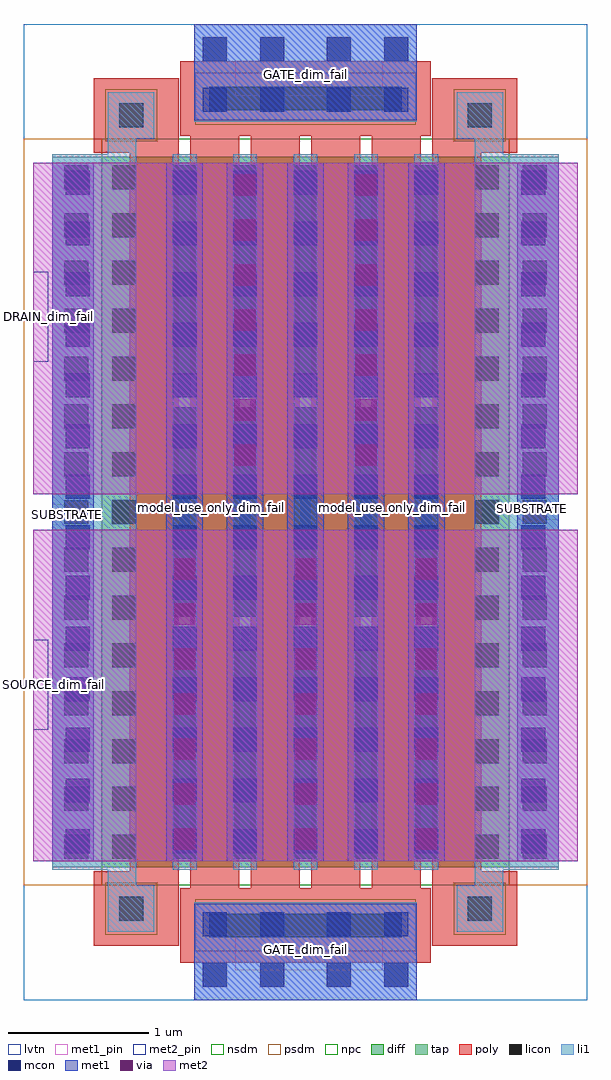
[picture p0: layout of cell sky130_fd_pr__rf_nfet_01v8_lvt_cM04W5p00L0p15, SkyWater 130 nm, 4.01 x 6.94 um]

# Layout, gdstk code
import gdstk
lib = gdstk.Library(unit=1e-6, precision=1e-09)
def R(c, l, rs):  # rectangles x0, y0, x1, y1
    for r in rs: c.add(gdstk.rectangle(r[:2], r[2:], *l))
def A(c, l, x, y, w, h, nx, ny, dx, dy):  # array of equal rectangles
    R(c, l, [(x+i*dx, y+j*dy, x+i*dx+w, y+j*dy+h) for i in range(nx) for j in range(ny)])
def P(c, l, *ps):  # polygons
    for p in ps: c.add(gdstk.Polygon(p, *l))
diff = (65, 20)
tap = (65, 44)
poly = (66, 20)
licon = (66, 44)
li1 = (67, 20)
mcon = (67, 44)
met1_pin = (68, 16)
met1 = (68, 20)
via = (68, 44)
met2_pin = (69, 16)
met2 = (69, 20)
nsdm = (93, 44)
psdm = (94, 20)
npc = (95, 20)
lvtn = (125, 44)

sky130_fd_pr__rf_nfet_01 = lib.new_cell('sky130_fd_pr__rf_nfet_01v8_lvt_cM04W5p00L0p15')
R(sky130_fd_pr__rf_nfet_01, diff, [(0.555,0.945,3.455,5.995)])
R(sky130_fd_pr__rf_nfet_01, tap, [(0.205,0.945,0.555,5.995), (3.455,0.945,3.805,5.995)])
P(sky130_fd_pr__rf_nfet_01, poly, [(0.5,0.385),(0.5,0.915),(0.755,0.915),(0.755,6.025),(0.5,6.025),(0.5,6.555),(1.105,6.555),(1.105,0.385)],
  [(2.905,0.385),(2.905,6.555),(3.51,6.555),(3.51,6.025),(3.255,6.025),(3.255,0.915),(3.51,0.915),(3.51,0.385)],
  [(1.115,0.265),(1.115,0.795),(1.185,0.795),(1.185,6.145),(1.535,6.145),(1.535,0.795),(1.615,0.795),(1.615,6.145),(1.965,6.145),(1.965,0.795),(2.045,0.795),(2.045,6.145),(2.395,6.145),(2.395,0.795),(2.475,0.795),(2.475,6.145),(1.115,6.145),(1.115,6.675),(2.895,6.675),(2.895,6.145),(2.825,6.145),(2.825,0.795),(2.895,0.795),(2.895,0.265)])
A(sky130_fd_pr__rf_nfet_01, licon, 0.29, 1.005, 0.17, 0.17, 1, 15, 0, 0.34)
A(sky130_fd_pr__rf_nfet_01, licon, 0.63, 1.005, 0.17, 0.17, 1, 15, 0, 0.34)
A(sky130_fd_pr__rf_nfet_01, licon, 1.06, 1.005, 0.17, 1.49, 5, 3, 0.43, 1.72)
A(sky130_fd_pr__rf_nfet_01, licon, 3.21, 1.005, 0.17, 0.17, 1, 15, 0, 0.34)
A(sky130_fd_pr__rf_nfet_01, licon, 3.55, 1.005, 0.17, 0.17, 1, 15, 0, 0.34)
R(sky130_fd_pr__rf_nfet_01, licon, [(1.32,0.445,2.69,0.615), (0.68,0.565,0.85,0.735), (3.16,0.565,3.33,0.735), (0.68,6.205,0.85,6.375), (3.16,6.205,3.33,6.375), (1.32,6.325,2.69,6.495)])
A(sky130_fd_pr__rf_nfet_01, li1, 1.06, 0.925, 0.17, 5.09, 5, 1, 0.43, 0)
A(sky130_fd_pr__rf_nfet_01, li1, 1.06, 2.125, 0.17, 2.69, 5, 1, 0.43, 0)
R(sky130_fd_pr__rf_nfet_01, li1, [(1.215,0,2.795,0.695), (0.6,0.485,0.93,0.815), (3.08,0.485,3.41,0.815), (0.6,0.815,0.8,0.925), (3.21,0.815,3.41,0.925), (0.205,0.925,0.8,6.015), (3.21,0.925,3.805,6.015), (0.32,1.045,0.49,5.895), (3.52,1.045,3.69,5.895), (0.6,6.015,0.8,6.125), (3.21,6.015,3.41,6.125), (0.6,6.125,0.93,6.455), (3.08,6.125,3.41,6.455), (1.215,6.245,2.795,6.94)])
A(sky130_fd_pr__rf_nfet_01, mcon, 0.3, 1.045, 0.17, 0.17, 1, 14, 0, 0.36)
A(sky130_fd_pr__rf_nfet_01, mcon, 1.06, 1.045, 0.17, 0.17, 5, 14, 0.43, 0.36)
A(sky130_fd_pr__rf_nfet_01, mcon, 3.54, 1.045, 0.17, 0.17, 1, 14, 0, 0.36)
R(sky130_fd_pr__rf_nfet_01, mcon, [(1.275,0.095,1.445,0.265), (1.685,0.095,1.855,0.265), (2.155,0.095,2.325,0.265), (2.565,0.095,2.735,0.265), (1.275,0.455,1.445,0.625), (1.685,0.455,1.855,0.625), (2.155,0.455,2.325,0.625), (2.565,0.455,2.735,0.625), (1.275,6.315,1.445,6.485), (1.685,6.315,1.855,6.485), (2.155,6.315,2.325,6.485), (2.565,6.315,2.735,6.485), (1.275,6.675,1.445,6.845), (1.685,6.675,1.855,6.845), (2.155,6.675,2.325,6.845), (2.565,6.675,2.735,6.845)])
R(sky130_fd_pr__rf_nfet_01, met1_pin, [(1.505,0.21,2.555,0.46), (0.205,3.375,0.5,3.525), (3.51,3.415,3.805,3.565), (1.505,6.43,2.555,6.68)])
A(sky130_fd_pr__rf_nfet_01, met1, 1.015, 0.985, 0.26, 2.24, 3, 1, 0.86, 0)
A(sky130_fd_pr__rf_nfet_01, met1, 1.015, 0.985, 0.26, 4.97, 5, 1, 0.43, 0)
R(sky130_fd_pr__rf_nfet_01, met1, [(1.215,0,2.795,0.685), (0.205,0.985,0.5,5.955), (3.51,0.985,3.805,5.955), (1.445,3.715,1.705,5.955), (2.305,3.715,2.565,5.955), (1.215,6.255,2.795,6.94)])
A(sky130_fd_pr__rf_nfet_01, via, 1.07, 1.07, 0.15, 0.15, 3, 7, 0.86, 0.32)
A(sky130_fd_pr__rf_nfet_01, via, 1.5, 3.8, 0.15, 0.15, 1, 7, 0, 0.32)
A(sky130_fd_pr__rf_nfet_01, via, 2.36, 3.8, 0.15, 0.15, 1, 7, 0, 0.32)
R(sky130_fd_pr__rf_nfet_01, met2_pin, [(0.07,1.92,0.175,2.56), (0.07,4.54,0.175,5.18)])
A(sky130_fd_pr__rf_nfet_01, met2, 1.015, 0.985, 0.26, 2.24, 3, 1, 0.86, 0)
R(sky130_fd_pr__rf_nfet_01, met2, [(0.07,0.985,3.94,3.345), (0.07,3.595,3.94,5.955), (1.445,3.715,1.705,5.955), (2.305,3.715,2.565,5.955)])
R(sky130_fd_pr__rf_nfet_01, nsdm, [(0.555,0.815,3.455,6.125)])
R(sky130_fd_pr__rf_nfet_01, psdm, [(0,0.815,0.555,6.125), (3.455,0.815,4.01,6.125)])
R(sky130_fd_pr__rf_nfet_01, npc, [(1.22,0.345,2.79,0.715), (0.58,0.465,0.95,0.835), (3.06,0.465,3.43,0.835), (0.58,6.105,0.95,6.475), (3.06,6.105,3.43,6.475), (1.22,6.225,2.79,6.595)])
R(sky130_fd_pr__rf_nfet_01, lvtn, [(0,0,4.01,6.94)])
sky130_fd_pr__rf_nfet_01.add(gdstk.Label('GATE_dim_fail', (2.005,0.36), layer=68, texttype=5))
sky130_fd_pr__rf_nfet_01.add(gdstk.Label('GATE_dim_fail', (2.005,6.58), layer=68, texttype=5))
sky130_fd_pr__rf_nfet_01.add(gdstk.Label('model_use_only_dim_fail', (1.335,3.505), layer=66, texttype=83))
sky130_fd_pr__rf_nfet_01.add(gdstk.Label('model_use_only_dim_fail', (1.765,3.505), layer=66, texttype=83))
sky130_fd_pr__rf_nfet_01.add(gdstk.Label('model_use_only_dim_fail', (2.195,3.505), layer=66, texttype=83))
sky130_fd_pr__rf_nfet_01.add(gdstk.Label('model_use_only_dim_fail', (2.625,3.505), layer=66, texttype=83))
sky130_fd_pr__rf_nfet_01.add(gdstk.Label('model_use_only_dim_fail', (3.07,3.47), layer=66, texttype=83))
sky130_fd_pr__rf_nfet_01.add(gdstk.Label('model_use_only_dim_fail', (0.915,3.47), layer=66, texttype=83))
sky130_fd_pr__rf_nfet_01.add(gdstk.Label('SUBSTRATE', (0.315,3.455), layer=68, texttype=16))
sky130_fd_pr__rf_nfet_01.add(gdstk.Label('SUBSTRATE', (3.62,3.495), layer=68, texttype=16))
sky130_fd_pr__rf_nfet_01.add(gdstk.Label('dummy_poly_dim_fail', (3.065,3.485), layer=83, texttype=44))
sky130_fd_pr__rf_nfet_01.add(gdstk.Label('dummy_poly_dim_fail', (0.92,3.515), layer=83, texttype=44))
sky130_fd_pr__rf_nfet_01.add(gdstk.Label('D_dim_fail', (1.575,3.47), layer=83, texttype=44))
sky130_fd_pr__rf_nfet_01.add(gdstk.Label('S_dim_fail', (1.145,3.47), layer=83, texttype=44))
sky130_fd_pr__rf_nfet_01.add(gdstk.Label('S_dim_fail', (2.435,3.47), layer=83, texttype=44))
sky130_fd_pr__rf_nfet_01.add(gdstk.Label('S_dim_fail', (2.005,3.47), layer=83, texttype=44))
sky130_fd_pr__rf_nfet_01.add(gdstk.Label('S_dim_fail', (1.575,3.47), layer=83, texttype=44))
sky130_fd_pr__rf_nfet_01.add(gdstk.Label('S_dim_fail', (1.145,3.47), layer=83, texttype=44))
sky130_fd_pr__rf_nfet_01.add(gdstk.Label('S_dim_fail', (2.865,3.47), layer=83, texttype=44))
sky130_fd_pr__rf_nfet_01.add(gdstk.Label('D_dim_fail', (2.435,3.47), layer=83, texttype=44))
sky130_fd_pr__rf_nfet_01.add(gdstk.Label('S_dim_fail', (2.005,3.47), layer=83, texttype=44))
sky130_fd_pr__rf_nfet_01.add(gdstk.Label('SOURCE_dim_fail', (0.175,2.24), layer=69, texttype=5))
sky130_fd_pr__rf_nfet_01.add(gdstk.Label('DRAIN_dim_fail', (0.175,4.86), layer=69, texttype=5))

lib.write_gds('sky130_fd_pr__rf_nfet_01v8_lvt_cM04W5p00L0p15.gds')
